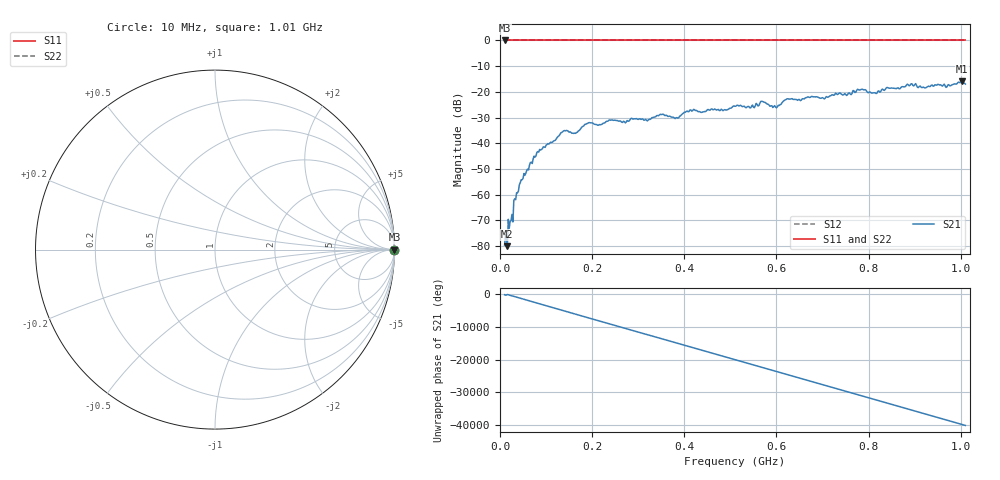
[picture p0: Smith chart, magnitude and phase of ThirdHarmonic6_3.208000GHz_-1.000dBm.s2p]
! 8/17/2025 9:45:42 AM
! C:\ANRITSUVNA\TEMP\TEMP.S2P
! CHANNEL.1
! TR.MEASUREMENT
! RAW.DATA
! RF.CORRECTION.OFF
! AVERAGING.OFF
! IF.BANDWIDTH: 5KHZ
! SWEEPTYPE:  FREQ.SWEEP(Linear)
! Reference Plane Port Info
! PORT:  PORT1  PORT2
! DISTANCE:  0  m  0  m
! TIME:  0  s  0  s
! PHASE.OFFSET:  0  deg.  0  deg.
! LOSS:  0  dB  0  dB
! REF.LOSS:  0  dB  0  dB
! REF.FREQ:  0  Hz  0  Hz
! Power Info
! POWER:  -20  dBm  -20  dBm
! EFF.POWER:  -20  dBm  -20  dBm
! SOURCE.ATTEN:  0  dB  0  dB
! TEST.ATTEN:  0  dB  0  dB
# GHZ S RI R 50.0
! FREQ.GHZ  S11RE  S11IM  S21RE  S21IM  S12RE  S12IM  S22RE  S22IM
!; PortSelection: Port_12
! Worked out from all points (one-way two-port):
!   501 points, 10 MHz to 1.01 GHz, reference 50 ohm
!   highest |S21| = -15.91 dB at 1.002 GHz (marker M1); lowest = -80.1 dB at 16 MHz (marker M2)
!   lowest |S11| = 0.0 dB at 10 MHz (marker M3)
!   |S11| at or under -10 dB: nowhere
!   |S22| runs from 0.0 to 0.0 dB; largest |S21 - S12| = 1.2
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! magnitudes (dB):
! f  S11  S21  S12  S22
! 10 MHz  0.0  -79.7  0.0  0.0
! 16 MHz  0.0  -80.1  0.0  0.0
! 22 MHz  0.0  -70.5  0.0  0.0
! 24 MHz  0.0  -70.2  0.0  0.0
! 34 MHz  0.0  -62.0  0.0  0.0
! 44 MHz  0.0  -55.3  0.0  0.0
! 78 MHz  0.0  -45.0  0.0  0.0
! 136 MHz  0.0  -35.5  0.0  0.0
! 164 MHz  0.0  -36.2  0.0  0.0
! 178 MHz  0.0  -33.7  0.0  0.0
! 344 MHz  0.0  -29.3  0.0  0.0
! 384 MHz  0.0  -30.0  0.0  0.0
! 416 MHz  0.0  -27.5  0.0  0.0
! 510 MHz  0.0  -25.6  0.0  0.0
! 548 MHz  0.0  -25.1  0.0  0.0
! 570 MHz  0.0  -23.8  0.0  0.0
! 596 MHz  0.0  -25.4  0.0  0.0
! 622 MHz  0.0  -22.8  0.0  0.0
! 678 MHz  0.0  -21.8  0.0  0.0
! 844 MHz  0.0  -18.6  0.0  0.0
! 1.002 GHz  0.0  -15.9  0.0  0.0
! 1.01 GHz  0.0  -17.0  0.0  0.0
